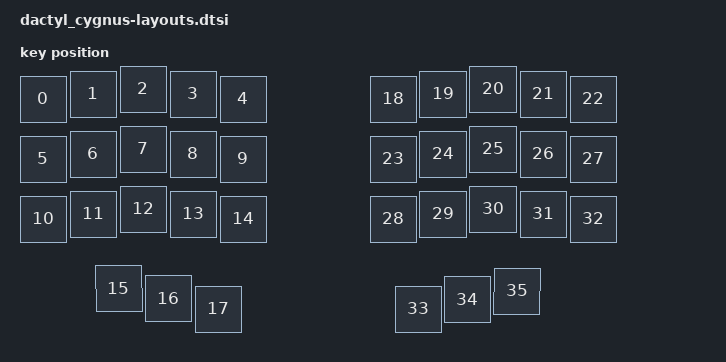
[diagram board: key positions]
#include <physical_layouts.dtsi>

/ {
    physical_layout_dactyl_cygnus: physical_layout_dactyl_cygnus {
        compatible = "zmk,physical-layout";
        display-name = "Dactyl Cygnus 3x5";

        keys =
            /* format:
            * <&key_physical_attrs width height x y rotation rx ry>
            */

            /* ================= LEFT HAND ================= */

            /* Row 0 */
            <&key_physical_attrs 100 100    0    0   0 0 0>
            , <&key_physical_attrs 100 100  100  -10   0 0 0>
            , <&key_physical_attrs 100 100  200  -20   0 0 0>
            , <&key_physical_attrs 100 100  300  -10   0 0 0>
            , <&key_physical_attrs 100 100  400    0   0 0 0>

            /* Row 1 */
            , <&key_physical_attrs 100 100    0  120   0 0 0>
            , <&key_physical_attrs 100 100  100  110   0 0 0>
            , <&key_physical_attrs 100 100  200  100   0 0 0>
            , <&key_physical_attrs 100 100  300  110   0 0 0>
            , <&key_physical_attrs 100 100  400  120   0 0 0>

            /* Row 2 */
            , <&key_physical_attrs 100 100    0  240   0 0 0>
            , <&key_physical_attrs 100 100  100  230   0 0 0>
            , <&key_physical_attrs 100 100  200  220   0 0 0>
            , <&key_physical_attrs 100 100  300  230   0 0 0>
            , <&key_physical_attrs 100 100  400  240   0 0 0>

            /* Left thumbs */
            , <&key_physical_attrs 100 100  150  380  -25 0 0>
            , <&key_physical_attrs 100 100  250  400  -10 0 0>
            , <&key_physical_attrs 100 100  350  420    0 0 0>

            /* ================= RIGHT HAND ================= */

            /* Row 0 */
            , <&key_physical_attrs 100 100  700    0   0 0 0>
            , <&key_physical_attrs 100 100  800  -10   0 0 0>
            , <&key_physical_attrs 100 100  900  -20   0 0 0>
            , <&key_physical_attrs 100 100 1000  -10   0 0 0>
            , <&key_physical_attrs 100 100 1100    0   0 0 0>

            /* Row 1 */
            , <&key_physical_attrs 100 100  700  120   0 0 0>
            , <&key_physical_attrs 100 100  800  110   0 0 0>
            , <&key_physical_attrs 100 100  900  100   0 0 0>
            , <&key_physical_attrs 100 100 1000  110   0 0 0>
            , <&key_physical_attrs 100 100 1100  120   0 0 0>

            /* Row 2 */
            , <&key_physical_attrs 100 100  700  240   0 0 0>
            , <&key_physical_attrs 100 100  800  230   0 0 0>
            , <&key_physical_attrs 100 100  900  220   0 0 0>
            , <&key_physical_attrs 100 100 1000  230   0 0 0>
            , <&key_physical_attrs 100 100 1100  240   0 0 0>

            /* Right thumbs */
            , <&key_physical_attrs 100 100  750  420    0 0 0>
            , <&key_physical_attrs 100 100  850  400   10 0 0>
            , <&key_physical_attrs 100 100  950  380   25 0 0>
            ;
    };
};
